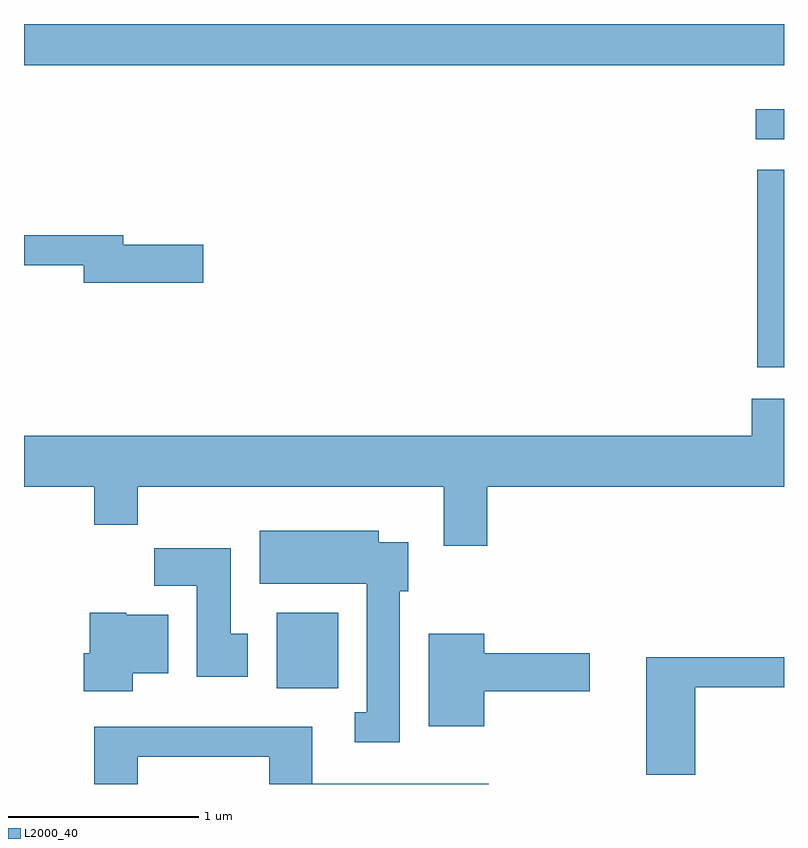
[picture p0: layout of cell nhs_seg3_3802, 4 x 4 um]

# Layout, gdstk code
import gdstk
lib = gdstk.Library(unit=1e-6, precision=1e-09)
def R(c, l, rs):  # rectangles x0, y0, x1, y1
    for r in rs: c.add(gdstk.rectangle(r[:2], r[2:], *l))
def P(c, l, *ps):  # polygons
    for p in ps: c.add(gdstk.Polygon(p, *l))
L2000_40 = (2000, 40)

nhs_seg3_3802 = lib.new_cell('nhs_seg3_3802')
R(nhs_seg3_3802, L2000_40, [(296.941,1240.396,297.264,1240.794), (299.471,1242.086,299.611,1243.124), (299.463,1243.286,299.611,1243.444), (295.611,1243.676,299.611,1243.892)])
P(nhs_seg3_3802, L2000_40, [(296.554,1242.729),(296.134,1242.729),(296.134,1242.779),(295.611,1242.779),(295.611,1242.621),(295.926,1242.621),(295.926,1242.531),(296.554,1242.531)],
  [(298.049,1241.456),(299.611,1241.456),(299.611,1241.919),(299.441,1241.919),(299.441,1241.724),(295.611,1241.724),(295.611,1241.456),(295.981,1241.456),(295.981,1241.256),(296.209,1241.256),(296.209,1241.456),(297.821,1241.456),(297.821,1241.146),(298.049,1241.146)],
  [(297.589,1240.906),(297.634,1240.906),(297.634,1241.164),(297.479,1241.164),(297.479,1241.224),(296.851,1241.224),(296.851,1240.946),(297.416,1240.946),(297.416,1240.269),(297.353,1240.269),(297.353,1240.111),(297.589,1240.111)],
  [(296.789,1240.684),(296.699,1240.684),(296.699,1241.134),(296.296,1241.134),(296.296,1240.936),(296.521,1240.936),(296.521,1240.456),(296.789,1240.456)],
  [(296.184,1240.476),(296.369,1240.476),(296.369,1240.784),(296.15,1240.784),(296.15,1240.794),(295.956,1240.794),(295.956,1240.579),(295.926,1240.579),(295.926,1240.381),(296.184,1240.381)],
  [(298.034,1240.381),(298.589,1240.381),(298.589,1240.579),(298.034,1240.579),(298.034,1240.684),(297.741,1240.684),(297.741,1240.196),(298.034,1240.196)],
  [(299.144,1240.401),(299.611,1240.401),(299.611,1240.559),(298.886,1240.559),(298.886,1239.941),(299.144,1239.941)],
  [(296.209,1240.036),(296.901,1240.036),(296.901,1239.892),(298.058,1239.892),(298.058,1239.894),(297.129,1239.894),(297.129,1240.194),(295.981,1240.194),(295.981,1239.892),(296.209,1239.892)])

lib.write_gds('nhs_seg3_3802.gds')
